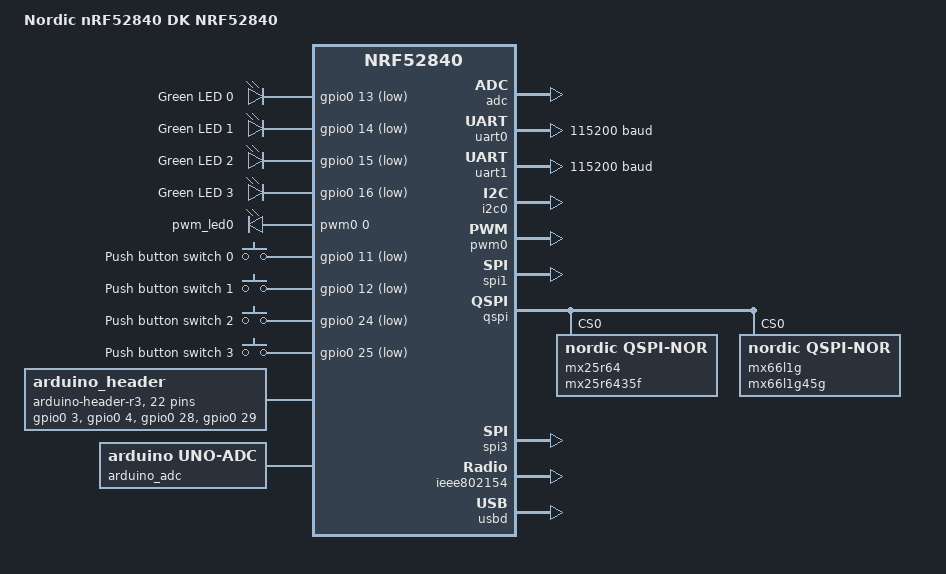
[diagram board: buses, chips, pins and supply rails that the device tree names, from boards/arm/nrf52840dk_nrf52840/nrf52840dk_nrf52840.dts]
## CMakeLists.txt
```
# SPDX-License-Identifier: Apache-2.0

cmake_minimum_required(VERSION 3.20.0)
set(BOARD_ROOT ${CMAKE_CURRENT_SOURCE_DIR})

find_package(Zephyr REQUIRED HINTS $ENV{ZEPHYR_BASE})
project(uart_echo_bot)

target_include_directories(app PRIVATE src/GPS
                                        src/LCD
                                        src/ACCLMTR
                                        src/BLE
                                        src/Json
                                        src/NVS
                                        src/RTC
                                        src/SYSTEM
                                        src/Timer
                                        src/PMIC
                                        src/MESH
)
                                        
target_sources(app PRIVATE  src/GPS/GPSHandler.c
                            src/LCD/LCDHandler.c
                            src/ACCLMTR/Accelerometer.c
                            src/BLE/BleHandler.c
                            src/BLE/BleService.c
                            src/Json/cJSON.c
                            src/SYSTEM/SystemHandler.c
                            src/RTC/RtcHandler.c
                            src/NVS/nvs_flash.c
                            src/Json/Jsonhandler.c
                            src/Timer/TimerHandler.c
                            src/PMIC/PMICHandler.c
                            src/MESH/MeshHandler.c
                            src/MESH/MeshService.c
                            src/main.c)
```

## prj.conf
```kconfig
CONFIG_SERIAL=y
CONFIG_UART_INTERRUPT_DRIVEN=y
CONFIG_UART_USE_RUNTIME_CONFIGURE=y
CONFIG_CBPRINTF_FP_SUPPORT=y
CONFIG_NEWLIB_LIBC=y
CONFIG_NEWLIB_LIBC_FLOAT_PRINTF=y
CONFIG_CBPRINTF_COMPLETE=y

#I2C functions enabled
CONFIG_I2C=y

#Ble Configurations
CONFIG_BT=y
CONFIG_BT_PERIPHERAL=y

#Uncomment below config, planning to enable extended advertising

# CONFIG_BT_CTLR_ADV_EXT=y
# CONFIG_BT_EXT_ADV=y
# CONFIG_BT_CTLR_ADV_DATA_LEN_MAX=225

#For enabling the definitionns of MTU exchange functions
CONFIG_BT_GATT_CLIENT=y

CONFIG_BT_GATT_CACHING=n
CONFIG_BT_USER_DATA_LEN_UPDATE=y
CONFIG_BT_USER_PHY_UPDATE=n
CONFIG_BT_GAP_AUTO_UPDATE_CONN_PARAMS=n
CONFIG_BT_BUF_ACL_RX_SIZE=498
CONFIG_BT_ATT_PREPARE_COUNT=2
CONFIG_BT_L2CAP_TX_MTU=494

CONFIG_BT_BUF_ACL_TX_COUNT=10
CONFIG_BT_BUF_EVT_RX_COUNT=5
CONFIG_BT_BUF_ACL_TX_SIZE=498
CONFIG_BT_AUTO_PHY_UPDATE=n
CONFIG_BT_CTLR_DATA_LENGTH_MAX=251

CONFIG_FLASH=y
CONFIG_FLASH_PAGE_LAYOUT=y
 
CONFIG_NVS=y
CONFIG_NRFX_TIMER1=y
CONFIG_REBOOT=y
CONFIG_MPU_ALLOW_FLASH_WRITE=y
CONFIG_SPI=y
CONFIG_NORDIC_QSPI_NOR=y

#PMIC
CONFIG_NRF_FUEL_GAUGE=y
CONFIG_SENSOR=y
CONFIG_SENSOR_LOG_LEVEL_DBG=y



#MESH

CONFIG_BT_DEVICE_NAME="VISENSE_TEST_MESH_GPSTracker"
CONFIG_HEAP_MEM_POOL_SIZE=4096
CONFIG_FLASH=y
CONFIG_FLASH_MAP=y
CONFIG_NVS=y
CONFIG_NVS_LOOKUP_CACHE=y
CONFIG_SETTINGS=y
CONFIG_SETTINGS_NVS_NAME_CACHE=y
CONFIG_HWINFO=y
CONFIG_DK_LIBRARY=y
CONFIG_PM_SINGLE_IMAGE=y
CONFIG_PM_PARTITION_SIZE_SETTINGS_STORAGE=0x8000
CONFIG_SOC_FLASH_NRF_PARTIAL_ERASE=y


# Bluetooth configuration
CONFIG_BT_COMPANY_ID=0x1234
CONFIG_BT_L2CAP_TX_BUF_COUNT=8
CONFIG_BT_OBSERVER=y
CONFIG_BT_SETTINGS=y

# Disable unused Bluetooth features
CONFIG_BT_CTLR_DUP_FILTER_LEN=0
CONFIG_BT_CTLR_LE_ENC=n
CONFIG_BT_PHY_UPDATE=n
CONFIG_BT_CTLR_CHAN_SEL_2=n
CONFIG_BT_CTLR_PRIVACY=n

# Bluetooth mesh configuration
CONFIG_BT_MESH=y
CONFIG_BT_MESH_RELAY=y
CONFIG_BT_MESH_FRIEND=y
CONFIG_BT_MESH_ADV_BUF_COUNT=13
CONFIG_BT_MESH_TX_SEG_MAX=22
CONFIG_BT_MESH_RX_SEG_MAX=22
CONFIG_BT_MESH_PB_GATT=y
CONFIG_BT_MESH_GATT_PROXY=y
CONFIG_BT_MESH_PROXY_USE_DEVICE_NAME=y
CONFIG_BT_MESH_DK_PROV=y
CONFIG_BT_MESH_SUBNET_COUNT=2
CONFIG_BT_MESH_APP_KEY_COUNT=3
CONFIG_BT_MESH_CRPL=10
CONFIG_BT_MESH_MSG_CACHE_SIZE=32

CONFIG_BT_MESH_RELAY_RETRANSMIT_COUNT=2
CONFIG_BT_MESH_TX_SEG_MSG_COUNT=5
CONFIG_BT_MESH_RX_SEG_MSG_COUNT=5



CONFIG_BT_MESH_MODEL_KEY_COUNT=1
CONFIG_BT_MESH_MODEL_GROUP_COUNT=1
CONFIG_BT_MESH_APP_KEY_COUNT=3
CONFIG_BT_MESH_SEG_BUFS=7168
```

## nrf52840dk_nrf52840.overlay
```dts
// To get started, press Ctrl+Space to bring up the completion menu and view the available nodes.

// You can also use the buttons in the sidebar to perform actions on nodes.
// Actions currently available include:

// * Enabling / disabling the node
// * Adding the bus to a bus
// * Removing the node
// * Connecting ADC channels

// For more help, browse the DeviceTree documentation at https://docs.zephyrproject.org/latest/guides/dts/index.html
// You can also visit the nRF DeviceTree extension documentation at https://nrfconnect.github.io/vscode-nrf-connect/devicetree/nrfdevicetree.html
&uart0 {
	compatible = "nordic,nrf-uarte";
	status = "okay";
	current-speed = <9600>;
	pinctrl-0 = <&uart0_default>;
	pinctrl-1 = <&uart0_sleep>;
	pinctrl-names = "default", "sleep";
};

&i2c0 {
	compatible = "nordic,nrf-twi";
	status = "okay";
	pinctrl-0 = <&i2c0_default>;
	pinctrl-1 = <&i2c0_sleep>;
	pinctrl-names = "default", "sleep";
};
```

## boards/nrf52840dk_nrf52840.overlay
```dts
// To get started, press Ctrl+Space to bring up the completion menu and view the available nodes.

// You can also use the buttons in the sidebar to perform actions on nodes.
// Actions currently available include:

// * Enabling / disabling the node
// * Adding the bus to a bus
// * Removing the node
// * Connecting ADC channels

// For more help, browse the DeviceTree documentation at https://docs.zephyrproject.org/latest/guides/dts/index.html
// You can also visit the nRF DeviceTree extension documentation at https://nrfconnect.github.io/vscode-nrf-connect/devicetree/nrfdevicetree.html
&uart0 {
	compatible = "nordic,nrf-uarte";
	status = "okay";
	current-speed = <9600>;
	pinctrl-0 = <&uart0_default>;
	pinctrl-1 = <&uart0_sleep>;
	pinctrl-names = "default", "sleep";
};

&i2c0 {
	compatible = "nordic,nrf-twi";
	status = "okay";
	pinctrl-0 = <&i2c0_default>;
	pinctrl-1 = <&i2c0_sleep>;
	pinctrl-names = "default", "sleep";
};

&spi1 {
	compatible = "nordic,nrf-spi";
	status = "disabled";
	pinctrl-0 = <&spi1_default>;
	pinctrl-1 = <&spi1_sleep>;
	pinctrl-names = "default", "sleep";
};

&i2c1 {
	status = "okay"; 
	npm1300_ek_pmic: pmic@6b {
		compatible = "nordic,npm1300";
		reg = <0x6b>;

		npm1300_ek_gpio: gpio-controller {
			compatible = "nordic,npm1300-gpio";
			gpio-controller;
			#gpio-cells = <2>;
			ngpios = <5>;
		};

		npm1300_ek_regulators: regulators {
			compatible = "nordic,npm1300-regulator";

			/* limits are set to min/max allowed values */
			npm1300_ek_buck1: BUCK1 {
				regulator-min-microvolt = <1800000>;
				regulator-max-microvolt = <3300000>;
			};

			npm1300_ek_buck2: BUCK2 {
				regulator-min-microvolt = <1000000>;
				regulator-max-microvolt = <3300000>;
				regulator-init-microvolt = <3300000>;
				retention-microvolt = <2500000>;
				enable-gpios = <&npm1300_ek_gpio 1 GPIO_ACTIVE_LOW>;
				retention-gpios = <&npm1300_ek_gpio 2 GPIO_ACTIVE_HIGH>;
				pwm-gpios = <&npm1300_ek_gpio 2 GPIO_ACTIVE_LOW>;
			};

			npm1300_ek_ldo1: LDO1 {
				regulator-min-microvolt = <1000000>;
				regulator-max-microvolt = <3300000>;
				enable-gpios = <&npm1300_ek_gpio 2 GPIO_ACTIVE_LOW>;
			};

			npm1300_ek_ldo2: LDO2 {
				regulator-min-microvolt = <1000000>;
				regulator-max-microvolt = <3300000>;
				enable-gpios = <&npm1300_ek_gpio 2 GPIO_ACTIVE_LOW>;
			};
		};

		npm1300_ek_charger: charger {
			compatible = "nordic,npm1300-charger";
			
			term-microvolt = <4150000>;
			term-warm-microvolt = <4000000>;
			current-microamp = <150000>;
			dischg-limit-microamp = <1000000>;
			vbus-limit-microamp = <500000>;
			thermistor-ohms = <10000>;
			thermistor-beta = <3380>;
			charging-enable;
		};
	};
};
```

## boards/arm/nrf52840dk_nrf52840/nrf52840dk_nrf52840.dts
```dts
/*
 * Copyright (c) 2017 Linaro Limited
 *
 * SPDX-License-Identifier: Apache-2.0
 */

/dts-v1/;
#include <nordic/nrf52840_qiaa.dtsi>
#include "nrf52840dk_nrf52840-pinctrl.dtsi"

/ {
	model = "Nordic nRF52840 DK NRF52840";
	compatible = "nordic,nrf52840-dk-nrf52840";

	chosen {
		zephyr,console = &uart0;
		zephyr,shell-uart = &uart0;
		zephyr,uart-mcumgr = &uart0;
		zephyr,bt-mon-uart = &uart0;
		zephyr,bt-c2h-uart = &uart0;
		zephyr,sram = &sram0;
		zephyr,flash = &flash0;
		zephyr,code-partition = &slot0_partition;
		zephyr,ieee802154 = &ieee802154;
	};

	leds {
		compatible = "gpio-leds";
		led0: led_0 {
			gpios = <&gpio0 13 GPIO_ACTIVE_LOW>;
			label = "Green LED 0";
		};
		led1: led_1 {
			gpios = <&gpio0 14 GPIO_ACTIVE_LOW>;
			label = "Green LED 1";
		};
		led2: led_2 {
			gpios = <&gpio0 15 GPIO_ACTIVE_LOW>;
			label = "Green LED 2";
		};
		led3: led_3 {
			gpios = <&gpio0 16 GPIO_ACTIVE_LOW>;
			label = "Green LED 3";
		};
	};
	
	powerpins {
		testpin0: testpin_0 {
			compatible = "eac,testpin";
			gpios = <&gpio1 11 GPIO_ACTIVE_LOW>;
			status = "okay";
		};
		testpin1: testpin_1 {
			compatible = "eac,testpin";
			gpios = <&gpio1 10 GPIO_ACTIVE_LOW>;
			status = "okay";
		};
		muxinputa: muxinput_a {
			compatible = "eac,testpin";
			gpios = <&gpio1 6 GPIO_ACTIVE_LOW>;
			status = "okay";
		};
		muxinputb: muxinput_b {
			compatible = "eac,testpin";
			gpios = <&gpio1 7 GPIO_ACTIVE_LOW>;
			status = "okay";
		};
		muxenable: mux_enable {
			compatible = "eac,testpin";
			gpios = <&gpio1 5 GPIO_ACTIVE_LOW>;
			status = "okay";
		};		
	};
	
	pwmleds {
		compatible = "pwm-leds";
		pwm_led0: pwm_led_0 {
			pwms = <&pwm0 0 PWM_MSEC(20) PWM_POLARITY_INVERTED>;
		};
	};

	buttons {
		compatible = "gpio-keys";
		button0: button_0 {
			gpios = <&gpio0 11 (GPIO_PULL_UP | GPIO_ACTIVE_LOW)>;
			label = "Push button switch 0";
		};
		button1: button_1 {
			gpios = <&gpio0 12 (GPIO_PULL_UP | GPIO_ACTIVE_LOW)>;
			label = "Push button switch 1";
		};
		button2: button_2 {
			gpios = <&gpio0 24 (GPIO_PULL_UP | GPIO_ACTIVE_LOW)>;
			label = "Push button switch 2";
		};
		button3: button_3 {
			gpios = <&gpio0 25 (GPIO_PULL_UP | GPIO_ACTIVE_LOW)>;
			label = "Push button switch 3";
		};
	};

	arduino_header: connector {
		compatible = "arduino-header-r3";
		#gpio-cells = <2>;
		gpio-map-mask = <0xffffffff 0xffffffc0>;
		gpio-map-pass-thru = <0 0x3f>;
		gpio-map = <0 0 &gpio0 3 0>,	/* A0 */
			   <1 0 &gpio0 4 0>,	/* A1 */
			   <2 0 &gpio0 28 0>,	/* A2 */
			   <3 0 &gpio0 29 0>,	/* A3 */
			   <4 0 &gpio0 30 0>,	/* A4 */
			   <5 0 &gpio0 31 0>,	/* A5 */
			   <6 0 &gpio1 1 0>,	/* D0 */
			   <7 0 &gpio1 2 0>,	/* D1 */
			   <8 0 &gpio1 3 0>,	/* D2 */
			   <9 0 &gpio1 4 0>,	/* D3 */
			   <10 0 &gpio1 5 0>,	/* D4 */
			   <11 0 &gpio1 6 0>,	/* D5 */
			   <12 0 &gpio1 7 0>,	/* D6 */
			   <13 0 &gpio1 8 0>,	/* D7 */
			   <14 0 &gpio1 10 0>,	/* D8 */
			   <15 0 &gpio1 11 0>,	/* D9 */
			   <16 0 &gpio1 12 0>,	/* D10 */
			   <17 0 &gpio1 13 0>,	/* D11 */
			   <18 0 &gpio1 14 0>,	/* D12 */
			   <19 0 &gpio1 15 0>,	/* D13 */
			   <20 0 &gpio0 26 0>,	/* D14 */
			   <21 0 &gpio0 27 0>;	/* D15 */
	};

	arduino_adc: analog-connector {
		compatible = "arduino,uno-adc";
		#io-channel-cells = <1>;
		io-channel-map = <0 &adc 1>;	/* A0 = P0.3 = AIN1 */
	};

	/* These aliases are provided for compatibility with samples */
	aliases {
		led0 = &led0;
		led1 = &led1;
		led2 = &led2;
		led3 = &led3;
		pwm-led0 = &pwm_led0;
		testpin0 = &testpin0;
		testpin1 = &testpin1;
		muxinputa = &muxinputa;
		muxinputb  = &muxinputb;
		muxenable = &muxenable;
		sw0 = &button0;
		sw1 = &button1;
		sw2 = &button2;
		sw3 = &button3;
		bootloader-led0 = &led0;
		mcuboot-button0 = &button0;
		mcuboot-led0 = &led0;
		watchdog0 = &wdt0;
		spi-flash0 = &mx25r64;
		spi-flash1 = &mx66l1g;
	};
};

&adc {
	status = "okay";
};

&gpiote {
	status = "okay";
};

&gpio0 {
	status = "okay";
};

&gpio1 {
	status = "okay";
};

&uart0 {
	compatible = "nordic,nrf-uarte";
	status = "okay";
	current-speed = <115200>;
	pinctrl-0 = <&uart0_default>;
	pinctrl-1 = <&uart0_sleep>;
	pinctrl-names = "default", "sleep";
};

arduino_serial: &uart1 {
	current-speed = <115200>;
	pinctrl-0 = <&uart1_default>;
	pinctrl-1 = <&uart1_sleep>;
	pinctrl-names = "default", "sleep";
};

arduino_i2c: &i2c0 {
	compatible = "nordic,nrf-twi";
	status = "okay";
	pinctrl-0 = <&i2c0_default>;
	pinctrl-1 = <&i2c0_sleep>;
	pinctrl-names = "default", "sleep";
};

&i2c1 {
	compatible = "nordic,nrf-twi";
	/* Cannot be used together with spi1. */
	/* status = "okay"; */
	pinctrl-0 = <&i2c1_default>;
	pinctrl-1 = <&i2c1_sleep>;
	pinctrl-names = "default", "sleep";
};

&pwm0 {
	status = "okay";
	pinctrl-0 = <&pwm0_default>;
	pinctrl-1 = <&pwm0_sleep>;
	pinctrl-names = "default", "sleep";
};

&spi0 {
	compatible = "nordic,nrf-spi";
	/* Cannot be used together with i2c0. */
	/* status = "okay"; */
	pinctrl-0 = <&spi0_default>;
	pinctrl-1 = <&spi0_sleep>;
	pinctrl-names = "default", "sleep";
};

&spi1 {
	compatible = "nordic,nrf-spi";
	status = "okay";
	pinctrl-0 = <&spi1_default>;
	pinctrl-1 = <&spi1_sleep>;
	pinctrl-names = "default", "sleep";
};

&spi2 {
	compatible = "nordic,nrf-spi";
	status = "disabled";
	pinctrl-0 = <&spi2_default>;
	pinctrl-1 = <&spi2_sleep>;
	pinctrl-names = "default", "sleep";
};

&qspi {
	status = "okay";
	pinctrl-0 = <&qspi_default>;
	pinctrl-1 = <&qspi_sleep>;
	pinctrl-names = "default", "sleep";
	mx25r64: mx25r6435f@0 {
		compatible = "nordic,qspi-nor";
		reg = <0>;
		/* MX25R64 supports only pp and pp4io */
		writeoc = "pp4io";
		/* MX25R64 supports all readoc options */
		readoc = "read4io";
		sck-frequency = <8000000>;
		jedec-id = [c2 28 17];
		sfdp-bfp = [
			e5 20 f1 ff  ff ff ff 03  44 eb 08 6b  08 3b 04 bb
			ee ff ff ff  ff ff 00 ff  ff ff 00 ff  0c 20 0f 52
			10 d8 00 ff  23 72 f5 00  82 ed 04 cc  44 83 68 44
			30 b0 30 b0  f7 c4 d5 5c  00 be 29 ff  f0 d0 ff ff
		];
		size = <67108864>;
		has-dpd;
		t-enter-dpd = <10000>;
		t-exit-dpd = <35000>;
	};
	mx66l1g: mx66l1g45g@0 {
		compatible = "nordic,qspi-nor";
		reg = <0>;
		/* MX66L1G supports only pp and pp4io */
		writeoc = "pp4io";
		/* MX66L1G supports all readoc options */
		readoc = "read4io";
		sck-frequency = <8000000>;
		//label = "MX66L1G";
		jedec-id = [c2 20 1b];
		sfdp-bfp = [
			e5 20 fb ff  ff ff ff 3f  44 eb 08 6b  08 3b 04 bb
			fe ff ff ff  ff ff 00 ff  ff ff 44 eb  0c 20 0f 52
			10 d8 00 ff  d6 49 c5 00  82 df 04 e3  44 03 67 38
			30 b0 30 b0  f7 bd d5 5c  4a 9e 29 ff  f0 50 f9 85
		];
		size = <1073741824>;
	};	
};

arduino_spi: &spi3 {
	status = "okay";
	cs-gpios = <&arduino_header 16 GPIO_ACTIVE_LOW>; /* D10 */
	pinctrl-0 = <&spi3_default>;
	pinctrl-1 = <&spi3_sleep>;
	pinctrl-names = "default", "sleep";
};

&ieee802154 {
	status = "okay";
};

&flash0 {

	partitions {
		compatible = "fixed-partitions";
		#address-cells = <1>;
		#size-cells = <1>;

		boot_partition: partition@0 {
			label = "mcuboot";
			reg = <0x00000000 0x0000C000>;
		};
		slot0_partition: partition@c000 {
			label = "image-0";
			reg = <0x0000C000 0x00076000>;
		};
		slot1_partition: partition@82000 {
			label = "image-1";
			reg = <0x00082000 0x00076000>;
		};

		/*
		 * The flash starting at 0x000f8000 and ending at
		 * 0x000fffff is reserved for use by the application.
		 */

		/*
		 * Storage partition will be used by FCB/LittleFS/NVS
		 * if enabled.
		 */
		storage_partition: partition@f8000 {
			label = "storage";
			reg = <0x000f8000 0x00008000>;
		};
	};
};

zephyr_udc0: &usbd {
	compatible = "nordic,nrf-usbd";
	status = "okay";
};
```

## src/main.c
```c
/**
 * @file   main.c
 * @brief  This is a GPSTracker application
 * @date   15-10-2023
 * @author Adhil
 */

/************************INCLUDES***************************/
#include "GPSHandler.h"
#include "LCDHandler.h"
#include "Accelerometer.h"
#include "BleHandler.h"
#include "BleService.h"
#include "JsonHandler.h"
#include "RtcHandler.h"
#include "nvs_flash.h"
#include "SystemHandler.h"
#include "TimerHandler.h"
#include "MeshHandler.h"
#ifdef PMIC_ENABLED
#include "PMIC/PMICHandler.h"
#endif

/*************************MACROS****************************/
#define TICK_RATE 32768
#define COORD_READ_TIMEOUT TICK_RATE * 2 // 2 seconds for reading location coordinates
#define SOG_READ_TIMEOUT TICK_RATE * 2	 // 2 seconds for reading SOG in knots.
#define TIME_STAMP_ERROR (1 << 1)
#define TIME_STAMP_OK ~(1 << 1)
/*************************TYPEDEFS***************************/

/***************************FUNCTION DECLARATION******************************/
static bool GetTimeFromRTC();
static bool WriteConfiguredtimeToRTC(void);
static bool CheckForConfigChange(void);
static bool InitBle();
static bool InitAllModules();
static bool GetAccelerometerDataAndUpdateJson(cJSON *pMainObject);
static bool DisplayAcclData(_sAcclData *psAcclData);
static void DisplaySOG(float fSOG);
static void DisplayLocation(double fLatitude, double fLongitude);
static void PrintBanner();
static bool UpdateConfigurations();
static bool SendHistoryDataToFlash(char *pcJsonBuffer);
static void DisplayFenceStatus();
static void SendConfigDataToApp();
static void ReadAndProcessLocationData(void);
static void ReadAndProcessSOGData(void);
static void SendLiveDataToApp();
static void UpdateTimeAndDiagData();


/***************************GLOBAL VARIABLES******************************/
static struct nvs_fs sConfigFs;
static uint32_t ulFlashidx = 0; // flash idx init
static cJSON *pMainObject = NULL;
static char *cJsonBuffer = NULL;


/*************************FUNTION DEFINITION******************************/
/**
 * @brief  main function
 * @param  None
 * @return 0 on exit
 */
int main(void)
{

#ifdef 	SLEEP_ENABLE
	long long sysTime;
#endif
	uint8_t *pucAdvBuffer = NULL;
	int *pDiagData = NULL;

	PrintBanner();

	if (!InitAllModules())
	{
		printk("ERR: initialising modules failed\n\r");
	}

	if (!CheckForConfigChange())
	{
		printk("ERROR: Config change check failed \n\r");
	}

	pucAdvBuffer = GetAdvertisingBuffer();
	pDiagData = GetDiagnosticData();

	if (!GetTimeFromRTC())
	{
		printk("WARN: Getting time from RTC failed \n\r");
	}

	while (1)
	{

#ifdef SLEEP_ENABLE
		sysTime = sys_clock_tick_get();

		while (sys_clock_tick_get() - sysTime < (ALIVE_TIME * TICK_RATE))
		{
#endif
			pMainObject = cJSON_CreateObject();
			UpdateConfigurations();
			WriteConfiguredtimeToRTC();
			ReadAndProcessLocationData();
			ReadAndProcessSOGData();

			if (!GetAccelerometerDataAndUpdateJson(pMainObject))
			{
				printk("ERR: Acceleromtr process failed\n\r");
			}

			SendConfigDataToApp();
			UpdateTimeAndDiagData();
			SendHistoryDataToFlash(cJsonBuffer);
			SendLiveDataToApp();

			if(GetConfigStatus())
			{
				ParseFenceData();	
				ParseRcvdData();
				SetConfigStatus(false);
			}

#ifdef SLEEP_ENABLE
		}
		 EnterSleepMode(GetSleepTime());
		 ExitSleepMode();

		printk("INFO: Syncing time with RTC\n\r");
		if (!GetTimeFromRTC())
		{
			printk("WARN: Getting time from RTC failed\n\r");
		}
		k_msleep(100);
#else
		k_msleep(100);
#endif
	}
	return 0;
}

static void UpdateTimeAndDiagData()
{
	uint8_t *pucAdvBuffer = NULL;
	long long llEpochTime = 0;
#ifdef PMIC_ENABLED	
	float fSOC = 0.0;
#endif	
	int *pDiagData = NULL;
#ifdef PMIC_ENABLED	
	char cBuffer[30];
#endif
	pucAdvBuffer = GetAdvertisingBuffer();
	pDiagData = GetDiagnosticData();

	if (GetCurrentTime(&llEpochTime))
	{
		AddItemtoJsonObject(&pMainObject, NUMBER, "TS", &llEpochTime, sizeof(long long));
	}
	printk("DIAG data : %d\n\r", *pDiagData);
	AddItemtoJsonObject(&pMainObject, NUMBER, "DIAG", pDiagData, sizeof(uint32_t));
	*pDiagData = *pDiagData | GPS_LOC_FAILED;
	cJsonBuffer = cJSON_Print(pMainObject);

#ifdef PMIC_ENABLED	
	PMICUpdate(&fSOC);
	memset(cBuffer, '\0', sizeof(cBuffer));
	printk("soc=%f\n\r", fSOC);
	sprintf(cBuffer,"%d%%", (int)fSOC);
	AddItemtoJsonObject(&pMainObject, STRING, "Batt", cBuffer, sizeof(float));
#endif	

	pucAdvBuffer[2] = 0x03;
	pucAdvBuffer[3] = (uint8_t)strlen(cJsonBuffer);
	memcpy(pucAdvBuffer + 4, cJsonBuffer, strlen(cJsonBuffer));
}

/**
 * @brief Send Live data to application
 * @param None
 * @return None
*/
static void SendLiveDataToApp()
{
	//char cFlashReadBuf[128] = {0};
	uint8_t *pucAdvBuffer = NULL;
	int *pDiagData = NULL;
	_sConfigData *psConfigData = NULL;

	psConfigData = GetConfigData();
	pucAdvBuffer = GetAdvertisingBuffer();
	pDiagData = GetDiagnosticData();

	if (IsNotificationenabled())
	{
		VisenseSensordataNotify(pucAdvBuffer + 2, ADV_BUFF_SIZE);
	}
	else if (!IsConnected() && !IsNotificationenabled() && IsDeviceInsideofFence())
	{
		writeJsonToExternalFlash(cJsonBuffer, ulFlashidx, WRITE_ALIGNMENT);
		// readJsonFromExternalFlash(cFlashReadBuf, ulFlashidx, WRITE_ALIGNMENT);
		// printk("\n\rcFlash read%s\n\r", cFlashReadBuf);
		// ulFlashidx++;
		// printk("flash count: %d\n\r", ulFlashidx);
	}
	if (IsSupervisorLiveNotifyEnable())
	{
		if (SendLiveDataToSupervisor(cJsonBuffer, strlen(cJsonBuffer)))
		{
			printk("INFO: LiveData sent to Supervisor\n\r");
		}
		
	}
	if ((psConfigData->flag & (1 << 1))) // check whether config data is read from the flash / updated from mobile at runtime
	{
		*pDiagData = *pDiagData & CONFIG_WRITE_OK; // added a diagnostic information to the application
	}
	else
	{
		*pDiagData = *pDiagData | CONFIG_WRITE_FAILED; // added a diagnostic information to the application
	}

	printk("JSON:\n%s\n", cJsonBuffer);
	cJSON_free(cJsonBuffer);
	cJSON_Delete(pMainObject);
	memset(pucAdvBuffer, 0, 300);
}

/**
 * @brief Read and process SOG data
 * @param None
 * @return None
*/
static void ReadAndProcessSOGData(void)
{
	float mSog = 0.00; // max sog limit init
	float fSOG = 0.00;
	long long TimeNow = 0;
	int *pDiagData = NULL;

	pDiagData = GetDiagnosticData();
	TimeNow = sys_clock_tick_get();

	while (sys_clock_tick_get() - TimeNow < SOG_READ_TIMEOUT)
	{
		if (ReadSOGData(&fSOG))
		{
			fSOG = fSOG * 1.51; /*knots to mph calculation*/
			printk("SOG: %f\n\r", fSOG);
			DisplaySOG(fSOG);
			AddItemtoJsonObject(&pMainObject, FLOAT, "SOG", &fSOG, sizeof(fSOG));

			if (IsDeviceInsideofFence() && fSOG > mSog) // if device inside fence & crossed threshold values
			{
				printk("/n/r________________INSIDE FENCE_____________: %f\n\r", fSOG);
				DisplayFenceStatus();
			}
			break;
		}
	}
}

/**
 * @brief Read and process Location data
 * @param None
 * @return None
*/
static void ReadAndProcessLocationData(void)
{
	long long TimeNow = 0;
	double fLatitude = 0.00;
	double fLongitude = 0.00;
	char pcLocation[50];
	int *pDiagData = NULL;

	pDiagData = GetDiagnosticData();
	TimeNow = sys_clock_tick_get();

	while (sys_clock_tick_get() - TimeNow < COORD_READ_TIMEOUT)
	{
		if (ReadLocationData(pcLocation))
		{
			*pDiagData = *pDiagData & GPS_LOC_OK;
			if (ConvertNMEAtoCoordinates(pcLocation, &fLatitude, &fLongitude))
			{
				DisplayLocation(fLatitude, fLongitude);
			}
			break;
		}
	}

	if (!(*pDiagData & (1 << 4)))
	{
		memset(pcLocation, 0, sizeof(pcLocation));
		sprintf(pcLocation,"%f", fLatitude);
		AddItemtoJsonObject(&pMainObject, STRING, "Latitude", pcLocation, sizeof(pcLocation));
		memset(pcLocation, 0, sizeof(pcLocation));
		sprintf(pcLocation,"%f", fLongitude);				
		AddItemtoJsonObject(&pMainObject, STRING, "Longitude", pcLocation, sizeof(pcLocation));
	}

	if (IsFenceConfigured())
	{
		if (polygonPoint(fLatitude, fLongitude, 4)) // func def in gpshandler.c
		{
			printk("\n\r");
			printk("target inside fence\n\r");
			printk("\n\r");
		}
	}
}

/**
 * @brief send config data to application over ble
 * @param None
 * @return None
*/
static void SendConfigDataToApp()
{
    cJSON *pConfigObject = NULL;
    char *cJsonConfigBuffer = NULL;
	_sFenceData *psFenceData = NULL;
    uint32_t ulSleepTime = 0;
	int ucCoordCount = 0;
	uint8_t ucIdx = 0;
    char cBuffer[30] =  {0};
	uint8_t cKeyBuff[10] = {0};

    pConfigObject = cJSON_CreateObject();
    ulSleepTime = GetSleepTime();
    sprintf(cBuffer, "%ds", ulSleepTime);
    AddItemtoJsonObject(&pConfigObject, STRING, "Sleep", cBuffer, strlen(cBuffer));
	ucCoordCount = GetCoordCount();
	AddItemtoJsonObject(&pConfigObject, NUMBER, "cc", &ucCoordCount, sizeof(ucCoordCount));
   	psFenceData = GetFenceTable();
	for (ucIdx=0; ucIdx < ucCoordCount; ucIdx++)
	{
		sprintf(cKeyBuff, "Lat%d", ucIdx+1);
		sprintf(cBuffer, "%f", psFenceData->dLatitude);
		AddItemtoJsonObject(&pConfigObject, STRING, cKeyBuff, cBuffer, strlen(cBuffer));
		memset(cKeyBuff, 0, sizeof(cKeyBuff));
		memset(cBuffer, 0, sizeof(cBuffer));
		sprintf(cKeyBuff, "Lon%d", ucIdx+1);
		sprintf(cBuffer, "%f", psFenceData->dLongitude);
		AddItemtoJsonObject(&pConfigObject, STRING, cKeyBuff, cBuffer, strlen(cBuffer));		
	}

	cJsonConfigBuffer = cJSON_Print(pConfigObject);
    printk("ConfigJSON:\n%s\n", cJsonConfigBuffer);

    if (IsConfigNotifyEnabled())
    {
        VisenseConfigDataNotify(cJsonConfigBuffer, (uint16_t)strlen(cJsonConfigBuffer));
    }

    cJSON_free(cJsonConfigBuffer);
    cJSON_Delete(pConfigObject);
}

/**
 * @brief Getting time from RTC
 * @param None
 * @return true for success
 */
static bool GetTimeFromRTC()
{
	long long llEpochNow = 0;
	bool bRetVal = false;
	uint32_t *pDiagData = NULL;
	pDiagData = GetDiagnosticData();

	if (GetCurrenTimeInEpoch(&llEpochNow))
	{
		printk("CurrentTime=%llu\n\r", llEpochNow);
		SetCurrentTime(llEpochNow);
		*pDiagData = *pDiagData & TIME_STAMP_OK;
		bRetVal = true;
	}
	else
	{
		*pDiagData = *pDiagData | TIME_STAMP_ERROR;
	}

	return bRetVal;
}

/**
 * @brief Write the configured time from BLE to RTC
 * @param None
 * @return true for success
 */
static bool WriteConfiguredtimeToRTC(void)
{
	bool bRetVal = false;
	int RetCode = 0;
	uint32_t *pDiagData = NULL;
	_sConfigData *psConfigData = NULL;

	psConfigData = GetConfigData();
	pDiagData = GetDiagnosticData();

	if (GetTimeUpdateStatus())
	{
		if (InitRtc())
		{
			SetTimeUpdateStatus(false);
			psConfigData->flag = psConfigData->flag | (1 << 4); // set flag for timestamp config data update and store it into flash
			RetCode = nvs_write(&sConfigFs, 0, (char *)psConfigData, sizeof(_sConfigData));
			if (RetCode < 0)
			{
				*pDiagData = *pDiagData | CONFIG_WRITE_FAILED;
			}
			else
			{
				*pDiagData = *pDiagData & CONFIG_WRITE_OK;
				*pDiagData = *pDiagData & TIME_STAMP_OK;
				printk("Time updated\n");
				bRetVal = true;
			}
		}
		else
		{
			*pDiagData = *pDiagData | TIME_STAMP_ERROR;
		}
	}

	return bRetVal;
}

/**
 * @brief Check for config change and update value from flash
 * @param None
 * @return true for success
 */
static bool CheckForConfigChange() // check for config change and update value from flash
{
	uint32_t ulRetCode = 0;
	uint8_t ucIdx = 0;
	bool bRetVal = false;
	uint32_t *pDiagData = NULL;
	_sConfigData *psConfigData = NULL;
	uint32_t *uFlashIdx = NULL;

	psConfigData = GetConfigData();
	pDiagData = GetDiagnosticData();
	uFlashIdx = GetFlashCounter();

	k_msleep(100);
	ulRetCode = ReadJsonFromFlash(&sConfigFs, 0, (char *)psConfigData, sizeof(_sConfigData)); // read config params from the flash
	if (psConfigData->flag == 0)
	{
		printk("\n\rError occured while reading config data: %d\n", ulRetCode);
		EraseExternalFlash(SECTOR_COUNT);
		*pDiagData = *pDiagData | CONFIG_WRITE_FAILED; // flag will shows error while reading config data from flash and added to the application
	}
	else
	{
		SetCurrentTime(psConfigData->lastUpdatedTime);
		SetSleepTime(psConfigData->sleepTime);
		*uFlashIdx = psConfigData->flashIdx;
		printk("sConfigFlag %d ,flashIdx = %d\n CC=%d",
			   psConfigData->flag,
			   psConfigData->flashIdx,
			   psConfigData->ucCoordCount);		   // get all the config params from the flash if a reboot occures
		SetFenceTable(&psConfigData->FenceData[0]); // get coordinates from the flash if a reboot occures
		for (ucIdx = 0; psConfigData->ucCoordCount > ucIdx ; ucIdx++)
		{
			printk("Lat: %f Lon: %f\n\r", 
			psConfigData->FenceData[ucIdx].dLatitude, psConfigData->FenceData[ucIdx].dLongitude);
		}
		bRetVal = true;
	}

	return bRetVal;
}

/**
 * @brief Update Configurations if any config value is written via Ble
 * @param None
 * @return true for success
 */
static bool UpdateConfigurations()
{
	int32_t ulRetCode = 0;
	bool bRetVal = false;
	_sFenceData *psFenceData = NULL;
	_sConfigData *psConfigData = NULL;

	psConfigData = GetConfigData();
	if (IsSleepTimeSet())
	{
		psConfigData->sleepTime = GetSleepTime();
		SetSleepTimeSetStataus(false);
		psConfigData->flag = psConfigData->flag | (1 << 0); // set flag for config data update and store it into flash

		do
		{
			ulRetCode = nvs_write(&sConfigFs, 0, (char *)psConfigData, sizeof(_sConfigData));

			if (ulRetCode < 0)
			{
				printk("ERROR: Write failed with ret code:%d\n", ulRetCode);
				break;
			}

			k_msleep(100);
			ulRetCode = nvs_read(&sConfigFs, 0, (char *)psConfigData, sizeof(_sConfigData));

			if (ulRetCode < 0)
			{
				printk("ERROR: Write failed with ret code:%d\n", ulRetCode);
				break;
			}
			bRetVal = true;
		} while (0);
	}
	if (IsConfigLat() && IsConfigLon())
	{
		psFenceData = GetFenceTable();
		psConfigData->ucCoordCount = GetCoordCount();
		memcpy(psConfigData->FenceData, psFenceData, sizeof(_sFenceData) * psConfigData->ucCoordCount);
		//free(psFenceData);
		// for (uint8_t ucIdx = 0; psConfigData->ucCoordCount > ucIdx ; ucIdx++)
		// {
		// 	printk("\n\rUCLat: %f UCLon: %f\n\r", 
		// 	psConfigData->FenceData[ucIdx].dLatitude, psConfigData->FenceData[ucIdx].dLongitude);
		// 	//psFenceData++;
		// }	
		SetConfigChangeLon(false);
		SetConfigChangeLat(false);
		
		psConfigData->flag = psConfigData->flag | (1 << 1); // set flag for config data update and store it into flash
		
		do
		{		

			ulRetCode = nvs_write(&sConfigFs, 0, (char *)psConfigData, sizeof(_sConfigData));

			if (ulRetCode <= 0)
			{
				printk("ERR: Write failed\n\r");
				break;
			}

			bRetVal = true;

		} while (0);
	}

	
	return bRetVal;
}

/**
 * @brief  : Initaialise BLE module
 * @param  : None
 * @return : true for success
 * 
*/
static bool InitBle()
{
	bool bRetVal = false;
	int Ret = 0;

	do
	{
		if (!EnableBLE())
		{
			printk("ERR: Enabling ble failed \n\r");
			break;
		}

		if (StartAdvertising())
		{
			printk("ERR: Advertising failed to start (err %d)\n", Ret);
			break;
		}

		bRetVal = true;
	} while (0);

	return bRetVal;
	
}

/**
 * @brief  : Initialise all modules 
 * @param  : None
 * @return : true for success 
*/
static bool InitAllModules()
{
	bool bRetVal = false;

	do
	{
		InitLCD();
		InitTimer();
#ifdef PMIC_ENABLED		
		PMICInit();
#endif		

		if (!InitBle())
		{
			printk("ERR: Ble initialisation failed\n\r");
			break;
		}
		if (!InitUart())
		{
			printk("ERR: Device not initialised\n\r");
			break;
		}

		if (FlashInit(&sConfigFs, CONFIG_DATA_FS) != 0)
		{
			printk("ERR: Flashinit failed\n\r");
			break;
		}
		bRetVal = true;
	} while (0);
	
	return bRetVal;
}

/**
 * @brief : Display Location data in LCD
 * @param : fLatitude  : Latitude coordinate in decimal degrees
 * 			fLongitude : Longitude coordinate in decimal degrees
 * @return : None
*/
static void DisplayLocation(double fLatitude, double fLongitude)
{
	char cLCDMessage[50] = {0};

	WriteLCDCmd(0x01); // Clear
	SetLCDCursor(1, 1);
	k_usleep(10);
	printk("Latitude: %fN Longitude: %fE\n\r", fLatitude, fLongitude);
	memset(cLCDMessage,'\0', sizeof(cLCDMessage));
	sprintf(cLCDMessage, "Lat:%f", fLatitude);
	printk("Msg: %s\n\r", cLCDMessage);
	WriteStringToLCD(cLCDMessage);

	memset(cLCDMessage,'\0', sizeof(cLCDMessage));
	SetLCDCursor(2, 1);
	sprintf(cLCDMessage, "Lon:%f", fLongitude);
	printk("Msg: %s\n\r", cLCDMessage);
	WriteStringToLCD(cLCDMessage);
	k_sleep(K_MSEC(200));
}

/**
 * @brief  Display fence status in LCD
 * @param  None
 * @return None
*/
static void DisplayFenceStatus()
{
	char cLCDMessage[50] = {0};

	WriteLCDCmd(0x01); // Clear
	SetLCDCursor(1, 1);

	strcpy(cLCDMessage, "INSIDE-FENCE");
	WriteStringToLCD(cLCDMessage);
	k_sleep(K_MSEC(500));
}

/**
 * @brief  : Display SOG value in LCD
 * @param  : fSOG : Speed over Ground value
 * @return : None
*/
static void DisplaySOG(float fSOG)
{
	char cLCDMessage[50] = {0};

	WriteLCDCmd(0x01); // Clear
	SetLCDCursor(0, 1);
	k_usleep(10);
	
	memset(cLCDMessage,'\0', sizeof(cLCDMessage));
	sprintf(cLCDMessage, "SOG:%f", fSOG);
	WriteStringToLCD(cLCDMessage);
	k_sleep(K_MSEC(200));
}

/**
 * @brief : Display x, y, z accelerometer data in LCD
 * @param : psAcclData : accelerometer data
 * @return : true for success
*/
static bool DisplayAcclData(_sAcclData *psAcclData)
{
	char cLCDMessage[30] = {0};
	bool bRetVal = false;

	if (psAcclData)
	{
		WriteLCDCmd(0x01);
		SetLCDCursor(1, 1);
		k_usleep(10);
		sprintf(cLCDMessage, "X:%d",
				psAcclData->unAccX);
		WriteStringToLCD(cLCDMessage);
		k_sleep(K_MSEC(300));
		memset(cLCDMessage,'\0', sizeof(cLCDMessage));
		SetLCDCursor(1, 9);
		k_usleep(10);
		sprintf(cLCDMessage, "Y:%d",
		psAcclData->unAccY);
		WriteStringToLCD(cLCDMessage);
			memset(cLCDMessage,'\0', sizeof(cLCDMessage));
		SetLCDCursor(2, 1);
			k_usleep(10);
		sprintf(cLCDMessage, "Z:%d",
				psAcclData->unAccZ);
		WriteStringToLCD(cLCDMessage);
		k_sleep(K_MSEC(300));
		bRetVal = true;
	}

	return bRetVal;
}

/**
 * @brief  : Read from accelerometer and update JSON 
 * @param  : pMainObject : json object
 * @return : true for success 
*/
static bool GetAccelerometerDataAndUpdateJson(cJSON *pMainObject)
{
	bool bRetVal = false;
	_sAcclData sAcclData = {0};

	do
	{
		if (!InitAcclerometer())
		{
			printk("ERR: Acclmtr not initialised\n\r");
			break;
		}

		if (ReadFromAccelerometer(&sAcclData))
		{
			printk("AccX: %d\n\r AccY: %d\n\r AccZ:%d\n\r",
					sAcclData.unAccX,
					sAcclData.unAccY,
					sAcclData.unAccZ);

			if (!DisplayAcclData(&sAcclData))
			{
				printk("ERR: displaying acceleromtr data failed\n\r");
				break;
			}

			if (!AddItemtoJsonObject(&pMainObject, NUMBER, "AccX", &sAcclData.unAccX, sizeof(float)))
			{
				printk("ERR: Adding X value to JSON failed\n\r");
				break;
			}
			
			if (!AddItemtoJsonObject(&pMainObject, NUMBER, "AccY", &sAcclData.unAccY, sizeof(float)))
			{
				printk("ERR: Adding Y value to JSON failed\n\r");
				break;
			}

			if (!AddItemtoJsonObject(&pMainObject, NUMBER, "AccZ", &sAcclData.unAccZ, sizeof(float)))
			{
				printk("ERR: Adding Z value to JSON failed\n\r");
				break;
			}

		}
		else
		{
			printk("ERR: Reading from Acceleromtr failed\n\r");
			break;
		}

		bRetVal = true;
	} while (0);

	return bRetVal;
}

/**
 * @brief History notification function
 * @param pcJsonBuffer : History data to notify
 * @return true for success
*/
static bool SendHistoryDataToFlash(char *pcJsonBuffer)
{
 
    char cBuffer[WRITE_ALIGNMENT];
    bool bRetval = false;
	_sConfigData *psConfigData = NULL;
	uint32_t *uFlashIdx = NULL;

    uFlashIdx = GetFlashCounter();
 
 	psConfigData = GetConfigData();

    if (pcJsonBuffer)
    {
        if(!IsConnected() && !IsSupervisorLiveNotifyEnable()) // && psConfigData->flag & (1 << 4) can include this condition also if config is mandetory during initial setup
        {
           
            memset(cBuffer, '\0', sizeof(cBuffer));
            memcpy(cBuffer, pcJsonBuffer, strlen(pcJsonBuffer));
            if(writeJsonToExternalFlash(cBuffer, *uFlashIdx, WRITE_ALIGNMENT))
            {
                // NO OP
            }
            k_msleep(50);
            if (readJsonFromExternalFlash(cBuffer, *uFlashIdx, WRITE_ALIGNMENT))
            {
                printk("\nId: %d, Stored_Data: %s\n",*uFlashIdx, cBuffer);
            }
            *uFlashIdx = *uFlashIdx + 1;
            psConfigData->flashIdx = *uFlashIdx;
            nvs_write(&sConfigFs, 0, (char *)psConfigData, sizeof(_sConfigData));
            if(*uFlashIdx>= NUMBER_OF_ENTRIES)
            {
                *uFlashIdx = 0;
            }
        }
 
        // if(IshistoryNotificationenabled() && IsConnected())
        // {
        //     printk("In history notif\n\r");
        //     if (VisenseHistoryDataNotify(*uFlashIdx))
        //     {
        //         *uFlashIdx = 0;
        //         psConfigData->flashIdx = *uFlashIdx;
        //         nvs_write(&sConfigFs, 0, (char *)psConfigData, sizeof(_sConfigData));
        //     }
        // }
 
        bRetval = true;
    }
 
    return bRetval;
}

/**
 * @brief  printing visense banner
 * @param  None
 * @return None
*/
static void PrintBanner()
{
    printk("\n\r");
    printk("'##::::'##:'####::'######::'########:'##::: ##::'######::'########:\n\r");
    k_msleep(50);
    printk("##:::: ##:. ##::'##... ##: ##.....:: ###:: ##:'##... ##: ##.....::\n\r");
    k_msleep(50);
    printk("##:::: ##:: ##:: ##:::..:: ##::::::: ####: ##: ##:::..:: ##:::::::\n\r");
    k_msleep(50);
    printk("##:::: ##:: ##::. ######:: ######::: ## ## ##:. ######:: ######:::\n\r");
    k_msleep(50);
    printk(". ##:: ##::: ##:::..... ##: ##...:::: ##. ####::..... ##: ##...::::\n\r");
    k_msleep(50);
    printk(":. ## ##:::: ##::'##::: ##: ##::::::: ##:. ###:'##::: ##: ##:::::::\n\r");
    k_msleep(50);
    printk("::. ###::::'####:. ######:: ########: ##::. ##:. ######:: ########:\n\r");
    k_msleep(50);
    printk(":::...:::::....:::......:::........::..::::..:::......:::........::\n\r");
    k_msleep(50);
    printk("\n\r");
}
```
